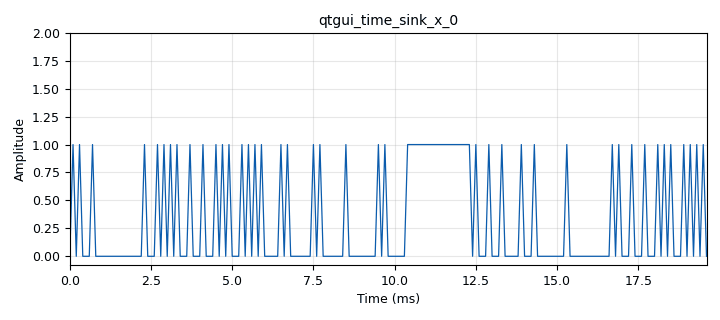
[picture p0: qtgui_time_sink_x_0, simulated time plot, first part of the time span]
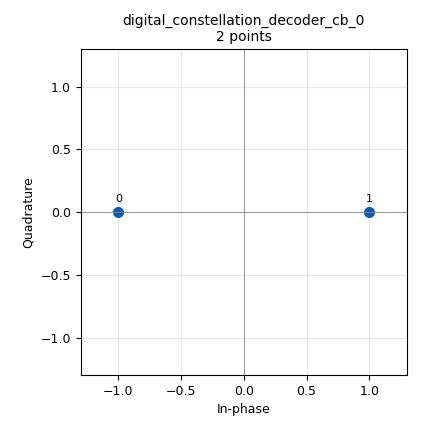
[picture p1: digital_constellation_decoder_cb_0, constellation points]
<?xml version='1.0' encoding='utf-8'?>
<?grc format='1' created='3.7.11'?>
<flow_graph>
<block>
<key>options</key>
<param><key>id</key><value>my_auto_corr</value></param>
<param><key>generate_options</key><value>qt_gui</value></param>
</block>
<block>
<key>variable_qtgui_range</key>
<param><key>id</key><value>delay</value></param>
<param><key>value</key><value>len(sync_symbol)</value></param>
<param><key>label</key><value>Delay</value></param>
<param><key>orient</key><value>Qt.Horizontal</value></param>
<param><key>start</key><value>1</value></param>
<param><key>step</key><value>1</value></param>
<param><key>stop</key><value>repeat*len(sync_symbol)</value></param>
</block>
<block>
<key>variable</key>
<param><key>id</key><value>num_samp</value></param>
<param><key>value</key><value>50</value></param>
</block>
<block>
<key>variable_constellation</key>
<param><key>id</key><value>pld_const</value></param>
<param><key>const_points</key><value>digital.psk_2()[0]</value></param>
<param><key>type</key><value>calcdist</value></param>
<param><key>dims</key><value>1</value></param>
<param><key>rot_sym</key><value>4</value></param>
<param><key>soft_dec_lut</key><value>"auto"</value></param>
<param><key>precision</key><value>8</value></param>
<param><key>sym_map</key><value>digital.psk_2()[1]</value></param>
</block>
<block>
<key>variable</key>
<param><key>id</key><value>preamble</value></param>
<param><key>value</key><value>"11111111111111111111"</value></param>
</block>
<block>
<key>variable</key>
<param><key>id</key><value>repeat</value></param>
<param><key>value</key><value>1</value></param>
</block>
<block>
<key>variable</key>
<param><key>id</key><value>samp_rate</value></param>
<param><key>value</key><value>10000</value></param>
</block>
<block>
<key>variable</key>
<param><key>id</key><value>sync_symbol</value></param>
<param><key>_enabled</key><value>0</value></param>
<param><key>value</key><value>[1,-1,1,-1,1,1,1,-1,-1,-1,1,-1,1]</value></param>
</block>
<block>
<key>variable</key>
<param><key>id</key><value>sync_symbol</value></param>
<param><key>value</key><value>numpy.ones(20)</value></param>
</block>
<block>
<key>analog_random_source_x</key>
<param><key>id</key><value>analog_random_source_x_0</value></param>
<param><key>max</key><value>255</value></param>
<param><key>min</key><value>0</value></param>
<param><key>num_samps</key><value>num_samp</value></param>
<param><key>type</key><value>byte</value></param>
<param><key>repeat</key><value>True</value></param>
</block>
<block>
<key>blocks_char_to_float</key>
<param><key>id</key><value>blocks_char_to_float_0</value></param>
<param><key>scale</key><value>1</value></param>
</block>
<block>
<key>blocks_char_to_float</key>
<param><key>id</key><value>blocks_char_to_float_0_0</value></param>
<param><key>scale</key><value>1</value></param>
</block>
<block>
<key>blocks_char_to_float</key>
<param><key>id</key><value>blocks_char_to_float_0_0_0</value></param>
<param><key>scale</key><value>1</value></param>
</block>
<block>
<key>blocks_repack_bits_bb</key>
<param><key>id</key><value>blocks_repack_bits_bb_0</value></param>
<param><key>k</key><value>8</value></param>
<param><key>l</key><value>1</value></param>
<param><key>endianness</key><value>gr.GR_MSB_FIRST</value></param>
<param><key>len_tag_key</key><value>"packet_len"</value></param>
</block>
<block>
<key>blocks_repack_bits_bb</key>
<param><key>id</key><value>blocks_repack_bits_bb_1</value></param>
<param><key>k</key><value>pld_const.bits_per_symbol()</value></param>
<param><key>l</key><value>1</value></param>
<param><key>endianness</key><value>gr.GR_MSB_FIRST</value></param>
</block>
<block>
<key>blocks_stream_mux</key>
<param><key>id</key><value>blocks_stream_mux_0</value></param>
<param><key>lengths</key><value>repeat*len(sync_symbol), num_samp*8/pld_const.bits_per_symbol()</value></param>
<param><key>type</key><value>complex</value></param>
</block>
<block>
<key>blocks_stream_to_tagged_stream</key>
<param><key>id</key><value>blocks_stream_to_tagged_stream_0</value></param>
<param><key>len_tag_key</key><value>"packet_len"</value></param>
<param><key>packet_len</key><value>num_samp</value></param>
<param><key>type</key><value>byte</value></param>
</block>
<block>
<key>blocks_tag_debug</key>
<param><key>id</key><value>blocks_tag_debug_0</value></param>
<param><key>type</key><value>byte</value></param>
<param><key>filter</key><value>"access_code"</value></param>
<param><key>name</key><value>access_code</value></param>
</block>
<block>
<key>blocks_throttle</key>
<param><key>id</key><value>blocks_throttle_0</value></param>
<param><key>samples_per_second</key><value>samp_rate</value></param>
<param><key>type</key><value>complex</value></param>
</block>
<block>
<key>blocks_vector_source_x</key>
<param><key>id</key><value>blocks_vector_source_x_0</value></param>
<param><key>type</key><value>complex</value></param>
<param><key>repeat</key><value>True</value></param>
<param><key>vector</key><value>numpy.tile(sync_symbol,repeat)</value></param>
</block>
<block>
<key>digital_chunks_to_symbols_xx</key>
<param><key>id</key><value>digital_chunks_to_symbols_xx_0</value></param>
<param><key>dimension</key><value>2</value></param>
<param><key>in_type</key><value>byte</value></param>
<param><key>out_type</key><value>complex</value></param>
<param><key>symbol_table</key><value>pld_const.points()</value></param>
</block>
<block>
<key>digital_constellation_decoder_cb</key>
<param><key>id</key><value>digital_constellation_decoder_cb_0</value></param>
<param><key>constellation</key><value>pld_const</value></param>
</block>
<block>
<key>digital_correlate_access_code_xx_ts</key>
<param><key>id</key><value>digital_correlate_access_code_xx_ts_0</value></param>
<param><key>access_code</key><value>int((sync_symbol+1)/2)</value></param>
<param><key>_enabled</key><value>0</value></param>
<param><key>type</key><value>byte</value></param>
<param><key>tagname</key><value>access_code</value></param>
<param><key>threshold</key><value>len(sync_symbol)</value></param>
</block>
<block>
<key>import</key>
<param><key>id</key><value>import_0</value></param>
<param><key>import</key><value>import numpy</value></param>
</block>
<block>
<key>lsa_my_access_corr_bb</key>
<param><key>id</key><value>lsa_my_access_corr_bb_0</value></param>
<param><key>access_code</key><value>preamble</value></param>
<param><key>threshold</key><value>len(sync_symbol)</value></param>
</block>
<block>
<key>qtgui_time_sink_x</key>
<param><key>id</key><value>qtgui_time_sink_x_0</value></param>
<param><key>gui_hint</key><value>tab0@0</value></param>
<param><key>color1</key><value>"blue"</value></param>
<param><key>label1</key><value></value></param>
<param><key>size</key><value>1024</value></param>
<param><key>srate</key><value>samp_rate</value></param>
<param><key>type</key><value>float</value></param>
<param><key>ymax</key><value>2</value></param>
<param><key>ymin</key><value>0</value></param>
</block>
<block>
<key>qtgui_time_sink_x</key>
<param><key>id</key><value>qtgui_time_sink_x_1</value></param>
<param><key>gui_hint</key><value>tab0@2</value></param>
<param><key>color1</key><value>"blue"</value></param>
<param><key>label1</key><value></value></param>
<param><key>size</key><value>1024</value></param>
<param><key>srate</key><value>samp_rate</value></param>
<param><key>type</key><value>float</value></param>
<param><key>ymax</key><value>50</value></param>
<param><key>ymin</key><value>0</value></param>
</block>
<block>
<key>qtgui_time_sink_x</key>
<param><key>id</key><value>qtgui_time_sink_x_2</value></param>
<param><key>gui_hint</key><value>tab0@1</value></param>
<param><key>color1</key><value>"blue"</value></param>
<param><key>label1</key><value></value></param>
<param><key>size</key><value>1024</value></param>
<param><key>srate</key><value>samp_rate</value></param>
<param><key>type</key><value>float</value></param>
<param><key>ymax</key><value>2</value></param>
<param><key>ymin</key><value>0</value></param>
</block>
<block>
<key>qtgui_tab_widget</key>
<param><key>id</key><value>tab0</value></param>
<param><key>label0</key><value>bitstream</value></param>
<param><key>label1</key><value>bitstream(out)</value></param>
<param><key>label2</key><value>corr</value></param>
<param><key>num_tabs</key><value>3</value></param>
</block>
<connection><source_block_id>analog_random_source_x_0</source_block_id><sink_block_id>blocks_stream_to_tagged_stream_0</sink_block_id><source_key>0</source_key><sink_key>0</sink_key></connection>
<connection><source_block_id>blocks_char_to_float_0</source_block_id><sink_block_id>qtgui_time_sink_x_0</sink_block_id><source_key>0</source_key><sink_key>0</sink_key></connection>
<connection><source_block_id>blocks_char_to_float_0_0</source_block_id><sink_block_id>qtgui_time_sink_x_2</sink_block_id><source_key>0</source_key><sink_key>0</sink_key></connection>
<connection><source_block_id>blocks_char_to_float_0_0_0</source_block_id><sink_block_id>qtgui_time_sink_x_1</sink_block_id><source_key>0</source_key><sink_key>0</sink_key></connection>
<connection><source_block_id>blocks_repack_bits_bb_0</source_block_id><sink_block_id>digital_chunks_to_symbols_xx_0</sink_block_id><source_key>0</source_key><sink_key>0</sink_key></connection>
<connection><source_block_id>blocks_repack_bits_bb_1</source_block_id><sink_block_id>blocks_char_to_float_0</sink_block_id><source_key>0</source_key><sink_key>0</sink_key></connection>
<connection><source_block_id>blocks_repack_bits_bb_1</source_block_id><sink_block_id>digital_correlate_access_code_xx_ts_0</sink_block_id><source_key>0</source_key><sink_key>0</sink_key></connection>
<connection><source_block_id>blocks_repack_bits_bb_1</source_block_id><sink_block_id>lsa_my_access_corr_bb_0</sink_block_id><source_key>0</source_key><sink_key>0</sink_key></connection>
<connection><source_block_id>blocks_stream_mux_0</source_block_id><sink_block_id>blocks_throttle_0</sink_block_id><source_key>0</source_key><sink_key>0</sink_key></connection>
<connection><source_block_id>blocks_stream_to_tagged_stream_0</source_block_id><sink_block_id>blocks_repack_bits_bb_0</sink_block_id><source_key>0</source_key><sink_key>0</sink_key></connection>
<connection><source_block_id>blocks_throttle_0</source_block_id><sink_block_id>digital_constellation_decoder_cb_0</sink_block_id><source_key>0</source_key><sink_key>0</sink_key></connection>
<connection><source_block_id>blocks_vector_source_x_0</source_block_id><sink_block_id>blocks_stream_mux_0</sink_block_id><source_key>0</source_key><sink_key>0</sink_key></connection>
<connection><source_block_id>digital_chunks_to_symbols_xx_0</source_block_id><sink_block_id>blocks_stream_mux_0</sink_block_id><source_key>0</source_key><sink_key>1</sink_key></connection>
<connection><source_block_id>digital_constellation_decoder_cb_0</source_block_id><sink_block_id>blocks_repack_bits_bb_1</sink_block_id><source_key>0</source_key><sink_key>0</sink_key></connection>
<connection><source_block_id>digital_correlate_access_code_xx_ts_0</source_block_id><sink_block_id>blocks_char_to_float_0</sink_block_id><source_key>0</source_key><sink_key>0</sink_key></connection>
<connection><source_block_id>lsa_my_access_corr_bb_0</source_block_id><sink_block_id>blocks_char_to_float_0_0_0</sink_block_id><source_key>1</source_key><sink_key>0</sink_key></connection>
<connection><source_block_id>lsa_my_access_corr_bb_0</source_block_id><sink_block_id>blocks_tag_debug_0</sink_block_id><source_key>1</source_key><sink_key>0</sink_key></connection>
<connection><source_block_id>lsa_my_access_corr_bb_0</source_block_id><sink_block_id>blocks_char_to_float_0_0</sink_block_id><source_key>0</source_key><sink_key>0</sink_key></connection>
</flow_graph>
